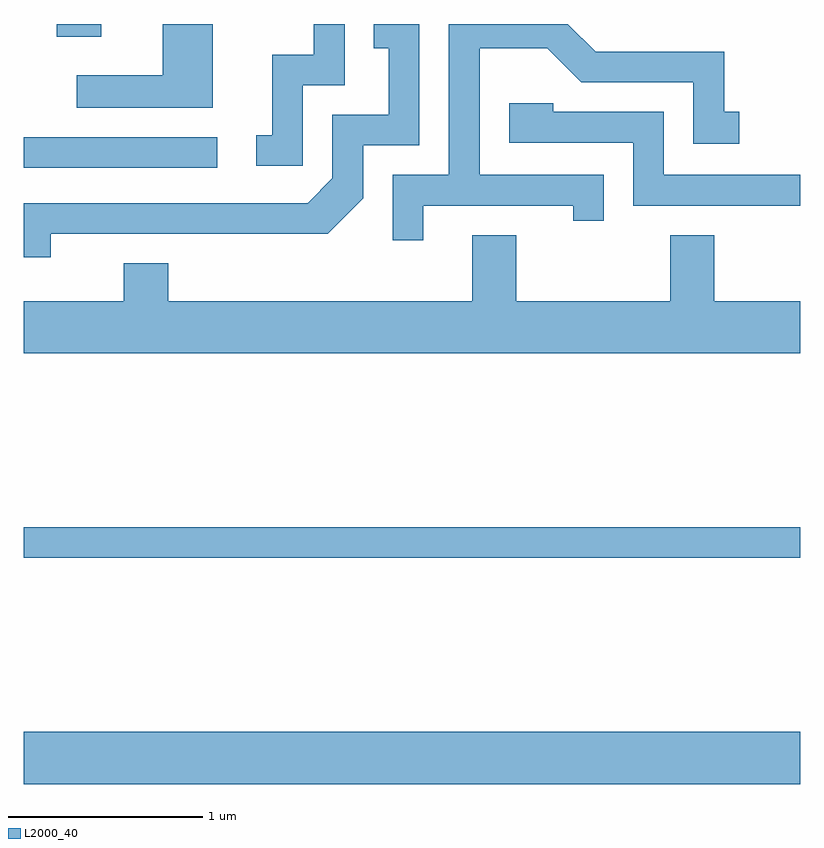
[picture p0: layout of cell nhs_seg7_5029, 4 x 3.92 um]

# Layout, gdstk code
import gdstk
lib = gdstk.Library(unit=1e-6, precision=1e-09)
def R(c, l, rs):  # rectangles x0, y0, x1, y1
    for r in rs: c.add(gdstk.rectangle(r[:2], r[2:], *l))
def P(c, l, *ps):  # polygons
    for p in ps: c.add(gdstk.Polygon(p, *l))
L2000_40 = (2000, 40)

nhs_seg7_5029 = lib.new_cell('nhs_seg7_5029')
R(nhs_seg7_5029, L2000_40, [(339.611,1694.336,343.611,1694.604), (339.611,1695.501,343.611,1695.659), (339.611,1697.511,340.608,1697.669), (339.781,1698.186,340.009,1698.252)])
P(nhs_seg7_5029, L2000_40, [(341.669,1697.316),(342.441,1697.316),(342.441,1697.238),(342.599,1697.238),(342.599,1697.474),(341.959,1697.474),(341.959,1698.126),(342.309,1698.126),(342.484,1697.951),(343.061,1697.951),(343.061,1697.636),(343.298,1697.636),(343.298,1697.799),(343.219,1697.799),(343.219,1698.109),(342.557,1698.109),(342.414,1698.252),(341.801,1698.252),(341.801,1697.474),(341.511,1697.474),(341.511,1697.138),(341.669,1697.138)],
  [(341.049,1697.936),(341.264,1697.936),(341.264,1698.252),(341.106,1698.252),(341.106,1698.094),(340.891,1698.094),(340.891,1697.679),(340.808,1697.679),(340.808,1697.521),(341.049,1697.521)],
  [(339.749,1697.171),(341.177,1697.171),(341.359,1697.354),(341.359,1697.626),(341.649,1697.626),(341.649,1698.252),(341.413,1698.252),(341.413,1698.126),(341.491,1698.126),(341.491,1697.784),(341.201,1697.784),(341.201,1697.457),(341.074,1697.329),(339.611,1697.329),(339.611,1697.051),(339.749,1697.051)],
  [(340.584,1698.252),(340.326,1698.252),(340.326,1697.989),(339.883,1697.989),(339.883,1697.821),(340.584,1697.821)],
  [(343.611,1697.474),(342.909,1697.474),(342.909,1697.799),(342.339,1697.799),(342.339,1697.844),(342.111,1697.844),(342.111,1697.641),(342.751,1697.641),(342.751,1697.316),(343.611,1697.316)],
  [(343.611,1696.824),(343.169,1696.824),(343.169,1697.164),(342.941,1697.164),(342.941,1696.824),(342.149,1696.824),(342.149,1697.164),(341.921,1697.164),(341.921,1696.824),(340.354,1696.824),(340.354,1697.019),(340.126,1697.019),(340.126,1696.824),(339.611,1696.824),(339.611,1696.556),(343.611,1696.556)])

lib.write_gds('nhs_seg7_5029.gds')
